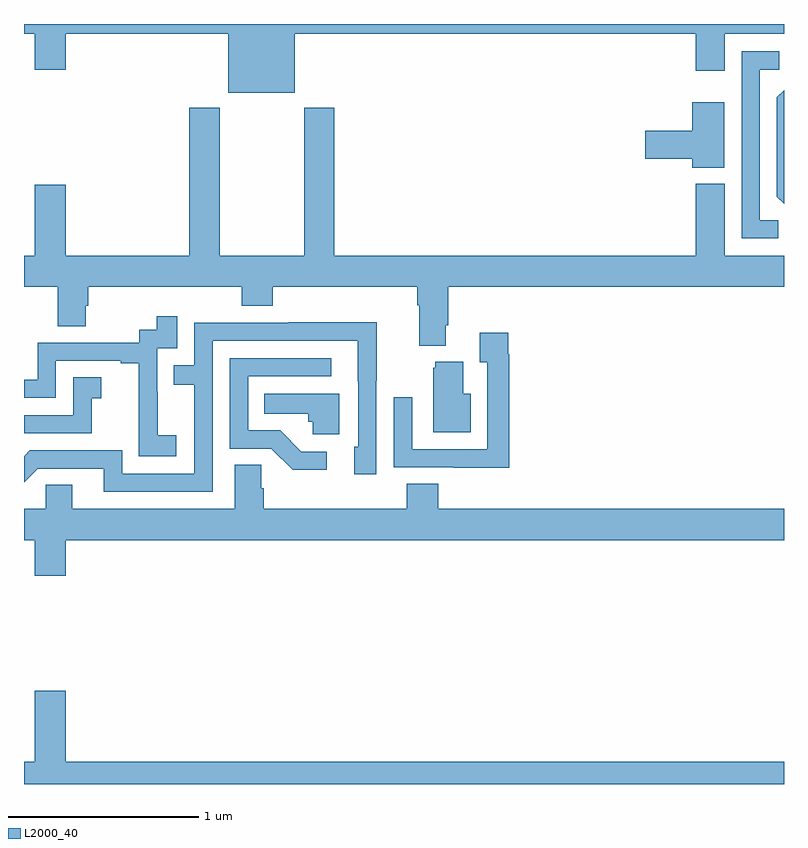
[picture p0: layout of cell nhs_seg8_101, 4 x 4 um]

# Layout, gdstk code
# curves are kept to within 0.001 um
import gdstk
lib = gdstk.Library(unit=1e-6, precision=1e-09)
def P(c, l, *ps):  # polygons
    for p in ps: c.add(gdstk.Polygon(p, *l))
L2000_40 = (2000, 40)

nhs_seg8_101 = lib.new_cell('nhs_seg8_101')
P(nhs_seg8_101, L2000_40, [(118.426,1101.848),(120.536,1101.848),(120.536,1101.654),(120.688,1101.654),(120.688,1101.848),(121,1101.848),(121,1101.9),(117,1101.9),(117,1101.848),(117.056,1101.848),(117.056,1101.66),(117.22,1101.66),(117.22,1101.848),(118.076,1101.848),(118.076,1101.539),(118.426,1101.539)],
  [(120.969,1100.867),(120.873,1100.867),(120.873,1101.66),(120.976,1101.66),(120.976,1101.756),(120.777,1101.756),(120.777,1100.772),(120.969,1100.772)],
  [(121,1101.551),(120.963,1101.514),(120.963,1100.992),(121,1100.955)],
  [(120.685,1101.487),(120.518,1101.487),(120.518,1101.338),(120.27,1101.338),(120.27,1101.191),(120.518,1101.191),(120.518,1101.143),(120.685,1101.143)],
  [(119.221,1100.314),(119.234,1100.314),(119.234,1100.516),(121,1100.516),(121,1100.68),(120.688,1100.68),(120.688,1101.058),(120.536,1101.058),(120.536,1100.68),(118.634,1100.68),(118.634,1101.46),(118.474,1101.46),(118.474,1100.68),(118.029,1100.68),(118.029,1101.46),(117.869,1101.46),(117.869,1100.68),(117.22,1100.68),(117.22,1101.055),(117.056,1101.055),(117.056,1100.68),(117,1100.68),(117,1100.516),(117.178,1100.516),(117.178,1100.308),(117.325,1100.308),(117.325,1100.418),(117.338,1100.418),(117.338,1100.516),(118.145,1100.516),(118.145,1100.417),(118.31,1100.417),(118.31,1100.516),(119.069,1100.516),(119.069,1100.42),(119.081,1100.42),(119.081,1100.207),(119.221,1100.207)],
  [(117.802,1099.735),(117.704,1099.735),(117.704,1099.964),(117.702,1099.964),(117.702,1100.193),(117.807,1100.193),(117.807,1100.362),(117.699,1100.362),(117.699,1100.292),(117.606,1100.292),(117.606,1100.223),(117.072,1100.223),(117.072,1100.028),(117,1100.028),(117,1099.932),(117.168,1099.932),(117.168,1100.127),(117.509,1100.127),(117.509,1100.115),(117.605,1100.115),(117.605,1099.831),(117.604,1099.831),(117.604,1099.625),(117.802,1099.625)],
  [(117.993,1100.232),(118.757,1100.232),(118.758,1099.674),(118.739,1099.674),(118.739,1099.53),(118.854,1099.53),(118.854,1100.023),(118.857,1100.023),(118.857,1100.33),(118.393,1100.33),(118.393,1100.328),(117.897,1100.328),(117.897,1100.103),(117.787,1100.103),(117.787,1100.002),(117.897,1100.002),(117.897,1099.533),(117.516,1099.533),(117.516,1099.656),(117.03,1099.656),(117,1099.626),(117,1099.488),(117.072,1099.56),(117.419,1099.56),(117.419,1099.437),(117.993,1099.437)],
  [(119.555,1100.162),(119.548,1100.162),(119.548,1100.275),(119.399,1100.275),(119.399,1100.119),(119.439,1100.119),(119.439,1099.662),(119.043,1099.662),(119.043,1099.936),(118.947,1099.936),(118.947,1099.566),(119.263,1099.566),(119.263,1099.565),(119.555,1099.565)],
  [(118.594,1099.65),(118.459,1099.65),(118.348,1099.761),(118.179,1099.761),(118.179,1100.046),(118.618,1100.046),(118.618,1100.142),(118.083,1100.142),(118.083,1099.665),(118.302,1099.665),(118.415,1099.553),(118.594,1099.553)],
  [(119.35,1099.954),(119.311,1099.954),(119.311,1100.122),(119.165,1100.122),(119.165,1100.091),(119.153,1100.091),(119.153,1099.751),(119.35,1099.751)],
  [(117.357,1099.931),(117.406,1099.931),(117.406,1100.041),(117.258,1100.041),(117.258,1099.842),(117,1099.842),(117,1099.746),(117.357,1099.746)],
  [(118.66,1099.954),(118.264,1099.954),(118.264,1099.85),(118.495,1099.85),(118.495,1099.806),(118.521,1099.806),(118.521,1099.742),(118.66,1099.742)],
  [(117.22,1099.184),(121,1099.184),(121,1099.348),(119.18,1099.348),(119.18,1099.481),(119.015,1099.481),(119.015,1099.348),(118.262,1099.348),(118.262,1099.457),(118.248,1099.457),(118.248,1099.58),(118.109,1099.58),(118.109,1099.348),(117.253,1099.348),(117.253,1099.475),(117.114,1099.475),(117.114,1099.348),(117,1099.348),(117,1099.184),(117.056,1099.184),(117.056,1098.996),(117.22,1098.996)],
  [(121,1098.016),(117.22,1098.016),(117.22,1098.391),(117.056,1098.391),(117.056,1098.016),(117,1098.016),(117,1097.9),(121,1097.9)])

lib.write_gds('nhs_seg8_101.gds')
